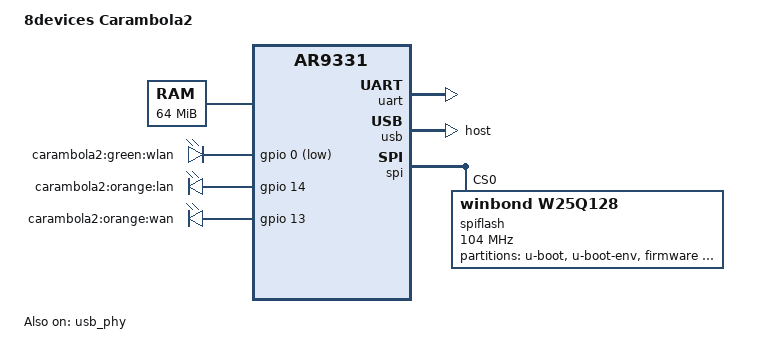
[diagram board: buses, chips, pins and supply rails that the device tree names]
// SPDX-License-Identifier: GPL-2.0
/dts-v1/;

#include <dt-bindings/gpio/gpio.h>
#include <dt-bindings/input/input.h>

#include "ar9331.dtsi"

/ {
	model = "8devices Carambola2";
	compatible = "8dev,carambola2", "qca,ar9331";

	aliases {
		serial0 = &uart;
	};

	memory@0 {
		device_type = "memory";
		reg = <0x0 0x4000000>;
	};

	leds {
		compatible = "gpio-leds";

		wlan {
			label = "carambola2:green:wlan";
			gpios = <&gpio 0 GPIO_ACTIVE_LOW>;
			default-state = "off";
		};

		lan {
			label = "carambola2:orange:lan";
			gpios = <&gpio 14 GPIO_ACTIVE_HIGH>;
			default-state = "off";
		};

		wan {
			label = "carambola2:orange:wan";
			gpios = <&gpio 13 GPIO_ACTIVE_HIGH>;
			default-state = "off";
		};
	};
};

&uart {
	status = "okay";
};

&gpio {
	status = "okay";
};

&usb {
	dr_mode = "host";
	status = "okay";
};

&usb_phy {
	status = "okay";
};

&spi {
	num-chipselects = <1>;
	status = "okay";

	/* Winbond 25Q1288VEG SPI flash */
	spiflash: w25q128@0 {
		#address-cells = <1>;
		#size-cells = <1>;
		compatible = "winbond,w25q128", "jedec,spi-nor";
		spi-max-frequency = <104000000>;
		reg = <0>;
		
		partitions {
			compatible = "fixed-partitions";
			#address-cells = <1>;
			#size-cells = <1>;

			partition@0 {
				label = "u-boot";
				reg = <0x000000 0x040000>;
				read-only;
			};

			partition@1 {
				label = "u-boot-env";
				reg = <0x040000 0x010000>;
			};

			partition@2 {
				label = "firmware";
				reg = <0x050000 0xfa0000>;
			};

			art: partition@3 {
				label = "ART";
				reg = <0xff0000 0x010000>;
				read-only;
			};
		};

	};
};
